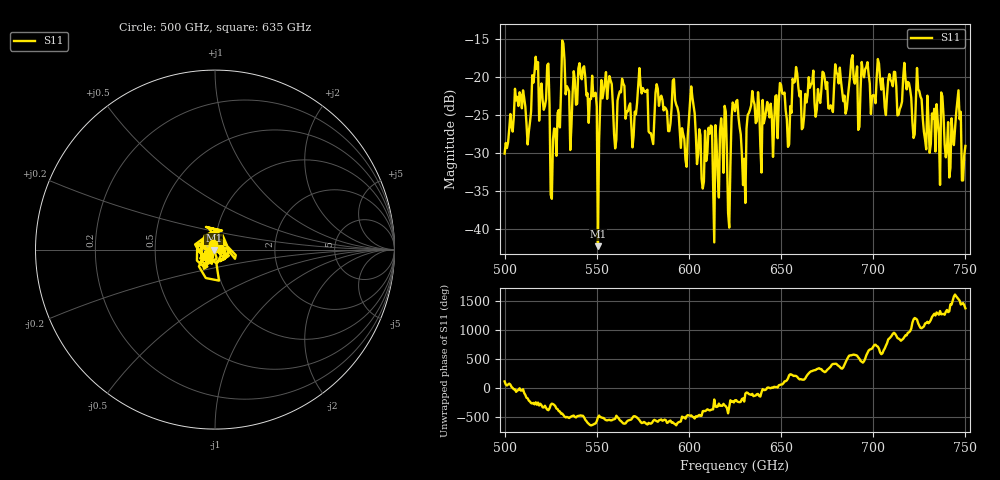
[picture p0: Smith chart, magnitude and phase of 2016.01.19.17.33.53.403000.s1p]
!Created with skrf (http://scikit-rf.org).
# GHz S RI R 50.0
!freq ReS11 ImS11
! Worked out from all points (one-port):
!   401 points, 500 GHz to 750 GHz, reference 50 ohm
!   lowest |S11| = -42.3 dB at 550.6 GHz (marker M1), VSWR 1.02, Z = 49.3 - j0.389 ohm
!   |S11| at or under -10 dB: start of sweep to end of sweep
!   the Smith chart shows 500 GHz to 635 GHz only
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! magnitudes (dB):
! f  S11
! 500 GHz  -30.1
! 506.9 GHz  -22.6
! 513.1 GHz  -27.2
! 516.9 GHz  -17.3
! 523.1 GHz  -18.4
! 526.2 GHz  -28.2
! 531.2 GHz  -15.2
! 548.8 GHz  -22.3
! 550.6 GHz  -42.3
! 553.8 GHz  -21.8
! 560 GHz  -29.4
! 562.5 GHz  -21.9
! 579.4 GHz  -27.4
! 593.8 GHz  -24.0
! 598.1 GHz  -30.9
! 601.9 GHz  -22.7
! 615 GHz  -28.9
! 618.8 GHz  -32.6
! 621.9 GHz  -39.8
! 625 GHz  -24.5
! 629.4 GHz  -34.2
! 633.8 GHz  -23.7
! 656.2 GHz  -20.2
! 687.5 GHz  -19.7
! 718.8 GHz  -20.6
! 740.6 GHz  -25.9
! 746.2 GHz  -21.7
! 750 GHz  -29.1
